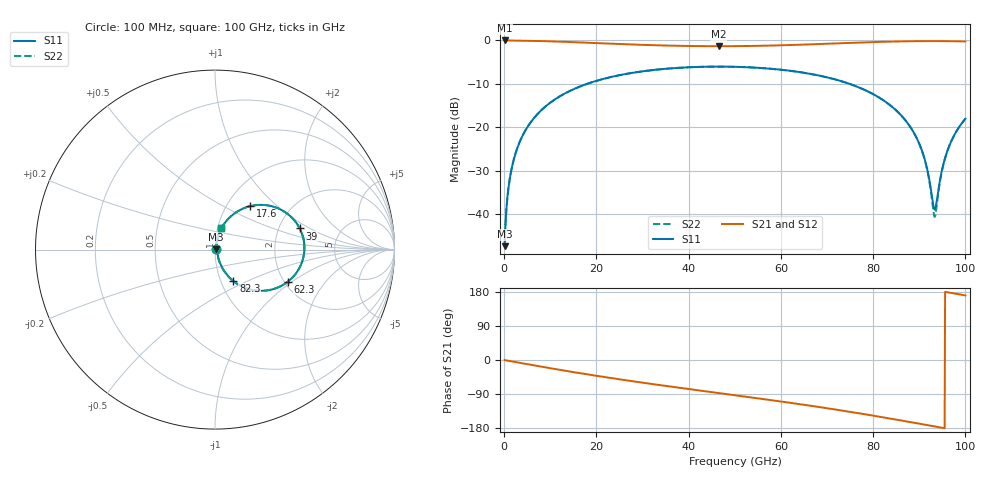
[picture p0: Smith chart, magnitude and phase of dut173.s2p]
! Touchstone file exported from HFSS 2026.1.0
!  File:  C:/ffzhzh/LocalFiles/Ansys_Project_Files/temp_train_RDL_173_1783500259_44152.aedt
!  Generated:  04:45:39 PM Jul  8, 2026
!  Design:  RDL
!  Project:  temp_train_RDL_173_1783500259_44152
! Variables:
!  h_bsmrdl = 2um
!  h_ox = 20um
!  h_rdl = 5um
!  h_sub = 80um
!  h_tmrdl = 2.38um
!  h_tsv = 80um
!  h_via = 3um
!  l_bsmrdl = 300um
!  l_sub = 1017.55um
!  l_tmrdl = 617.55um
!  m_sub = 200um
!  pitch = 51.77um
!  r_tsv = 6um
!  s_tmrdl = 10um
!  w_bsmrdl = 18um
!  w_sub = 500um
!  w_tmrdl = 28.13um
!  x_tsv_center1 = 631.615um
!  x_tsv_center2 = 949.615um
!  x_tsv_center3 = 1595.295um
!  x_tsv_center4 = 1913.295um
!  x_tsv_center5 = 2558.975um
!  x_tsv_center6 = 2876.975um
# GHz S MA R 50.000000
! Terminal data exported
! Port[1] = TM_RDL1_1_T1
! Port[2] = TM_RDL1_1_T2
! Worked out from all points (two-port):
!   1000 points, 100 MHz to 100 GHz, reference 50 ohm
!   highest |S21| = -0.03 dB at 100 MHz (marker M1); lowest = -1.4 dB at 46.5 GHz (marker M2)
!   |S21| within 3 dB of the highest: start of sweep to end of sweep
!   lowest |S11| = -47.4 dB at 100 MHz (marker M3), VSWR 1.01, Z = 50.4 + j0.233 ohm
!   |S11| at or under -10 dB: start of sweep to 18.03 GHz; 74.83 GHz to end of sweep
!   |S22| runs from -47.4 to -6.0 dB; largest |S21 - S12| = 1.8e-14
!   S11 on the Smith chart (normalised r, x): 100 MHz: 1.01, +0.00; 17.6 GHz: 1.28, +0.68; 39 GHz: 2.61, +0.80; 62.3 GHz: 2.09, -0.93; 82.3 GHz: 1.15, -0.42; 100 GHz: 1.04, +0.25
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0.1  0.004281 32.6  0.9964 -0.2  0.9964 -0.2  0.004281 32.6
! Gamma 0 0 0 0
! Port Impedance 50 0 50 0
0.9  0.01934 73.7  0.9951 -2.0  0.9951 -2.0  0.01934 73.7
1.5  0.031 77.4  0.9945 -3.3  0.9945 -3.3  0.031 77.4
2.6  0.05264 78.5  0.9933 -5.7  0.9933 -5.7  0.05263 78.5
4.2  0.08399 76.9  0.9908 -9.2  0.9908 -9.2  0.08399 76.9
9.1  0.1758 67.9  0.9772 -19.8  0.9772 -19.8  0.1758 67.9
16.8  0.2992 52.7  0.9445 -35.5  0.9445 -35.5  0.2992 52.7
17.6  0.3103 51.1  0.9407 -37.1  0.9407 -37.1  0.3103 51.2
33.4  0.4618 23.1  0.8756 -65.6  0.8756 -65.6  0.4618 23.2
39  0.4866 14.0  0.8622 -74.9  0.8622 -74.9  0.4865 14.0
46.5  0.4984 2.0  0.8555 -87.1  0.8555 -87.1  0.4983 2.1
50.1  0.4956 -3.7  0.857 -93.0  0.857 -93.0  0.4955 -3.6
62.3  0.444 -23.6  0.8834 -113.4  0.8834 -113.4  0.4439 -23.6
66.7  0.4083 -31.2  0.8995 -121.2  0.8995 -121.2  0.4081 -31.2
82.3  0.2029 -59.6  0.962 -151.6  0.962 -151.6  0.2027 -59.9
83.4  0.1842 -61.6  0.9654 -153.9  0.9654 -153.9  0.184 -61.9
87.2  0.1165 -67.5  0.9747 -162.0  0.9747 -162.0  0.1163 -68.2
89.9  0.06651 -69.1  0.9785 -167.8  0.9785 -167.8  0.06617 -70.4
91.5  0.03694 -64.5  0.9796 -171.3  0.9796 -171.3  0.03636 -67.1
93.3  0.01133 -0.3  0.9798 -175.2  0.9798 -175.2  0.009325 -0.8
96  0.05179 75.5  0.978 179.0  0.978 179.0  0.05139 78.0
100  0.1252 74.4  0.9707 170.4  0.9707 170.4  0.125 75.7
